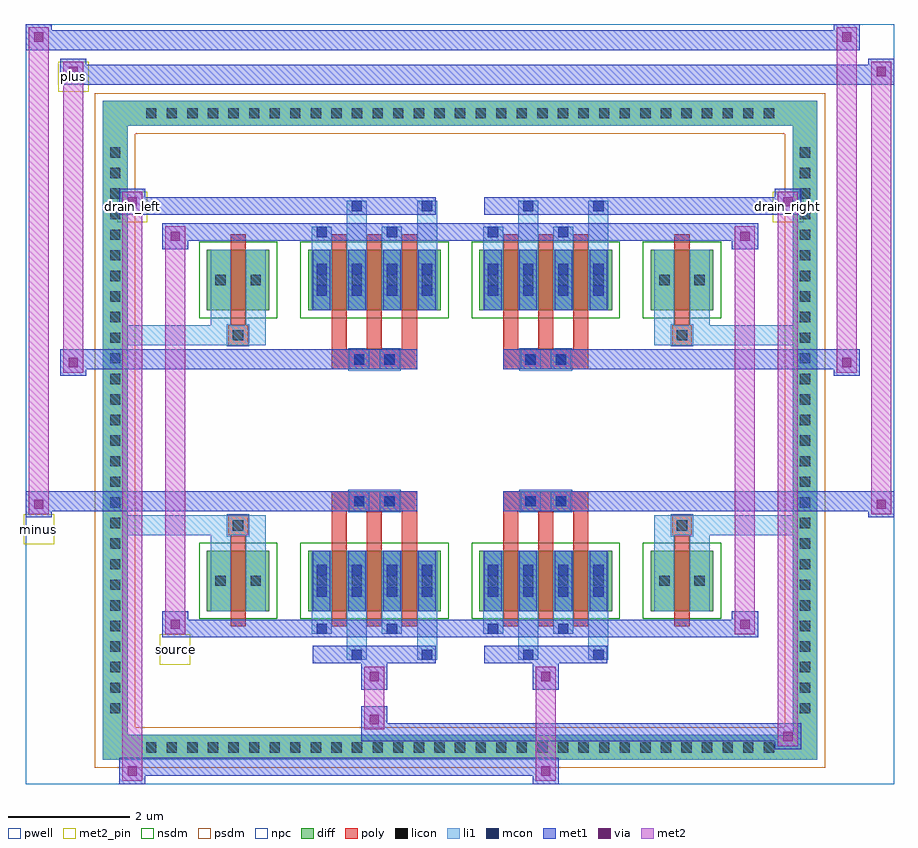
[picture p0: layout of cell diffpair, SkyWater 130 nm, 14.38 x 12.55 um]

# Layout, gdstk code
import gdstk
lib = gdstk.Library(unit=1e-6, precision=5e-09)
def R(c, l, rs):  # rectangles x0, y0, x1, y1
    for r in rs: c.add(gdstk.rectangle(r[:2], r[2:], *l))
def A(c, l, x, y, w, h, nx, ny, dx, dy):  # array of equal rectangles
    R(c, l, [(x+i*dx, y+j*dy, x+i*dx+w, y+j*dy+h) for i in range(nx) for j in range(ny)])
def P(c, l, *ps):  # polygons
    for p in ps: c.add(gdstk.Polygon(p, *l))
pwell = (64, 44)
diff = (65, 20)
poly = (66, 20)
licon = (66, 44)
li1 = (67, 20)
mcon = (67, 44)
met1 = (68, 20)
via = (68, 44)
met2_pin = (69, 16)
met2 = (69, 20)
nsdm = (93, 44)
psdm = (94, 20)
npc = (95, 20)

diffpair = lib.new_cell('diffpair')
R(diffpair, pwell, [(-7.17,-5.84,7.17,6.71), (-4.49,-4.03,-0.01,-0.805), (0.01,-4.03,4.49,-0.805), (-4.49,0.805,-0.01,4.03), (0.01,0.805,4.49,4.03)])
A(diffpair, diff, -5.305, -5.44, 0.41, 0.41, 31, 2, 0.34, 10.47)
A(diffpair, diff, -5.9, -4.795, 0.41, 0.41, 1, 28, 0, 0.34)
A(diffpair, diff, 5.49, -4.795, 0.41, 0.41, 1, 28, 0, 0.34)
R(diffpair, diff, [(-5.305,-5.44,5.305,-5.03), (-5.9,-4.795,-5.49,4.795), (5.49,-4.795,5.9,4.795), (-4.18,-2.985,-3.15,-1.985), (-2.51,-2.985,-0.32,-1.985), (0.32,-2.985,2.51,-1.985), (3.15,-2.985,4.18,-1.985), (-4.18,1.985,-3.15,2.985), (-2.51,1.985,-0.32,2.985), (0.32,1.985,2.51,2.985), (3.15,1.985,4.18,2.985), (-5.305,5.03,5.305,5.44)])
P(diffpair, diff, [(5.9,5.44),(-5.9,5.44),(-5.9,-5.03),(-5.49,-5.03),(-5.49,5.03),(5.49,5.03),(5.49,-5.03),(-5.49,-5.03),(-5.9,-5.03),(-5.9,-5.44),(5.9,-5.44)])
A(diffpair, poly, -2.12, -3.235, 0.25, 1.5, 3, 2, 0.58, 4.97)
A(diffpair, poly, 0.71, -3.235, 0.25, 1.5, 3, 2, 0.58, 4.97)
A(diffpair, poly, -2.12, -1.735, 0.25, 0.4, 3, 2, 0.58, 3.07)
A(diffpair, poly, 0.71, -1.735, 0.25, 0.4, 3, 2, 0.58, 3.07)
R(diffpair, poly, [(-3.79,-3.235,-3.54,-1.735), (3.54,-3.235,3.79,-1.735), (-3.83,-1.735,-3.5,-1.405), (-3.83,-1.735,-3.5,-1.405), (3.5,-1.735,3.83,-1.405), (3.5,-1.735,3.83,-1.405), (-2.12,-1.335,-0.71,-1.005), (-1.83,-1.335,-1.5,-1.005), (-1.33,-1.335,-1,-1.005), (0.71,-1.335,2.12,-1.005), (1,-1.335,1.33,-1.005), (1.5,-1.335,1.83,-1.005), (-2.12,1.005,-0.71,1.335), (-1.83,1.005,-1.5,1.335), (-1.33,1.005,-1,1.335), (0.71,1.005,2.12,1.335), (1,1.005,1.33,1.335), (1.5,1.005,1.83,1.335), (-3.83,1.405,-3.5,1.735), (-3.83,1.405,-3.5,1.735), (3.5,1.405,3.83,1.735), (3.5,1.405,3.83,1.735), (-3.79,1.735,-3.54,3.235), (3.54,1.735,3.79,3.235)])
A(diffpair, licon, -5.185, -5.32, 0.17, 0.17, 31, 2, 0.34, 10.47)
A(diffpair, licon, -5.78, -4.675, 0.17, 0.17, 1, 28, 0, 0.34)
A(diffpair, licon, 5.61, -4.675, 0.17, 0.17, 1, 28, 0, 0.34)
A(diffpair, licon, -2.37, -2.57, 0.17, 0.17, 4, 2, 0.58, 4.97)
A(diffpair, licon, 0.46, -2.57, 0.17, 0.17, 4, 2, 0.58, 4.97)
R(diffpair, licon, [(-4.04,-2.57,-3.87,-2.4), (-3.46,-2.57,-3.29,-2.4), (3.29,-2.57,3.46,-2.4), (3.87,-2.57,4.04,-2.4), (-3.75,-1.655,-3.58,-1.485), (3.58,-1.655,3.75,-1.485), (-1.75,-1.255,-1.58,-1.085), (-1.25,-1.255,-1.08,-1.085), (1.08,-1.255,1.25,-1.085), (1.58,-1.255,1.75,-1.085), (-1.75,1.085,-1.58,1.255), (-1.25,1.085,-1.08,1.255), (1.08,1.085,1.25,1.255), (1.58,1.085,1.75,1.255), (-3.75,1.485,-3.58,1.655), (3.58,1.485,3.75,1.655), (-4.04,2.4,-3.87,2.57), (-3.46,2.4,-3.29,2.57), (3.29,2.4,3.46,2.57), (3.87,2.4,4.04,2.57)])
A(diffpair, li1, -5.265, -5.4, 0.33, 0.33, 31, 2, 0.34, 10.47)
A(diffpair, li1, -5.86, -4.755, 0.33, 0.33, 1, 28, 0, 0.34)
A(diffpair, li1, 5.53, -4.755, 0.33, 0.33, 1, 28, 0, 0.34)
A(diffpair, li1, -2.45, -2.985, 0.33, 1, 4, 2, 0.58, 4.97)
A(diffpair, li1, 0.38, -2.985, 0.33, 1, 4, 2, 0.58, 4.97)
A(diffpair, li1, -2.37, -2.75, 0.17, 0.17, 4, 2, 0.58, 0.36)
A(diffpair, li1, -2.37, -2.75, 0.17, 0.53, 4, 2, 0.58, 4.97)
A(diffpair, li1, 0.46, -2.75, 0.17, 0.17, 4, 2, 0.58, 0.36)
A(diffpair, li1, 0.46, -2.75, 0.17, 0.53, 4, 2, 0.58, 4.97)
A(diffpair, li1, -2.45, -2.65, 0.33, 0.33, 4, 2, 0.58, 4.97)
A(diffpair, li1, 0.38, -2.65, 0.33, 0.33, 4, 2, 0.58, 4.97)
A(diffpair, li1, -2.37, 2.22, 0.17, 0.17, 4, 2, 0.58, 0.36)
A(diffpair, li1, 0.46, 2.22, 0.17, 0.17, 4, 2, 0.58, 0.36)
R(diffpair, li1, [(-5.9,-5.44,-5.49,-5.03), (-5.9,-5.44,-5.49,-5.03), (-5.49,-5.44,5.49,-5.03), (5.49,-5.44,5.9,-5.03), (5.49,-5.44,5.9,-5.03), (-5.9,-5.03,-5.49,5.03), (5.49,-5.03,5.9,5.03), (-1.87,-3.79,-1.54,-2.985), (-1.79,-3.79,-1.62,-3.62), (-0.71,-3.79,-0.38,-2.985), (-0.63,-3.79,-0.46,-3.62), (0.96,-3.79,1.29,-2.985), (1.04,-3.79,1.21,-3.62), (2.12,-3.79,2.45,-2.985), (2.2,-3.79,2.37,-3.62), (-2.45,-3.36,-2.12,-2.985), (-2.37,-3.36,-2.2,-3.19), (-1.29,-3.36,-0.96,-2.985), (-1.21,-3.36,-1.04,-3.19), (0.38,-3.36,0.71,-2.985), (0.46,-3.36,0.63,-3.19), (1.54,-3.36,1.87,-2.985), (1.62,-3.36,1.79,-3.19), (-4.12,-2.985,-3.79,-1.985), (-3.54,-2.985,-3.21,-1.985), (3.21,-2.985,3.54,-1.985), (3.79,-2.985,4.12,-1.985), (-4.12,-2.65,-3.79,-2.32), (-3.54,-2.65,-3.21,-2.32), (3.21,-2.65,3.54,-2.32), (3.79,-2.65,4.12,-2.32), (-4.12,-1.985,-3.79,-1.405), (-3.54,-1.985,-3.21,-1.405), (3.21,-1.985,3.54,-1.405), (3.79,-1.985,4.12,-1.405), (-5.9,-1.735,-3.83,-1.405), (-4.12,-1.735,-3.83,-1.405), (-3.83,-1.735,-3.5,-1.405), (-3.5,-1.735,-3.21,-1.405), (3.21,-1.735,3.5,-1.405), (3.5,-1.735,3.83,-1.405), (3.5,-1.735,5.9,-1.405), (3.83,-1.735,4.12,-1.405), (-1.83,-1.335,-1.5,-1.005), (-1.33,-1.335,-1,-1.005), (1,-1.335,1.33,-1.005), (1.5,-1.335,1.83,-1.005), (-1.83,1.005,-1.5,1.335), (-1.33,1.005,-1,1.335), (1,1.005,1.33,1.335), (1.5,1.005,1.83,1.335), (-5.9,1.405,-3.83,1.735), (-4.12,1.405,-3.83,1.735), (-4.12,1.405,-3.79,1.985), (-3.83,1.405,-3.5,1.735), (-3.54,1.405,-3.21,1.985), (-3.5,1.405,-3.21,1.735), (3.21,1.405,3.5,1.735), (3.21,1.405,3.54,1.985), (3.5,1.405,3.83,1.735), (3.5,1.405,5.9,1.735), (3.79,1.405,4.12,1.985), (3.83,1.405,4.12,1.735), (-4.12,1.985,-3.79,2.985), (-3.54,1.985,-3.21,2.985), (3.21,1.985,3.54,2.985), (3.79,1.985,4.12,2.985), (-4.12,2.32,-3.79,2.65), (-3.54,2.32,-3.21,2.65), (3.21,2.32,3.54,2.65), (3.79,2.32,4.12,2.65), (-2.45,2.985,-2.12,3.36), (-1.87,2.985,-1.54,3.79), (-1.29,2.985,-0.96,3.36), (-0.71,2.985,-0.38,3.79), (0.38,2.985,0.71,3.36), (0.96,2.985,1.29,3.79), (1.54,2.985,1.87,3.36), (2.12,2.985,2.45,3.79), (-2.37,3.19,-2.2,3.36), (-1.21,3.19,-1.04,3.36), (0.46,3.19,0.63,3.36), (1.62,3.19,1.79,3.36), (-1.79,3.62,-1.62,3.79), (-0.63,3.62,-0.46,3.79), (1.04,3.62,1.21,3.79), (2.2,3.62,2.37,3.79), (-5.9,5.03,-5.49,5.44), (-5.9,5.03,-5.49,5.44), (-5.49,5.03,5.49,5.44), (5.49,5.03,5.9,5.44), (5.49,5.03,5.9,5.44)])
A(diffpair, mcon, -2.37, -2.75, 0.17, 0.17, 4, 2, 0.58, 0.36)
A(diffpair, mcon, 0.46, -2.75, 0.17, 0.17, 4, 2, 0.58, 0.36)
A(diffpair, mcon, -2.37, 2.22, 0.17, 0.17, 4, 2, 0.58, 0.36)
A(diffpair, mcon, 0.46, 2.22, 0.17, 0.17, 4, 2, 0.58, 0.36)
R(diffpair, mcon, [(-1.79,-3.79,-1.62,-3.62), (-0.63,-3.79,-0.46,-3.62), (1.04,-3.79,1.21,-3.62), (2.2,-3.79,2.37,-3.62), (-2.37,-3.36,-2.2,-3.19), (-1.21,-3.36,-1.04,-3.19), (0.46,-3.36,0.63,-3.19), (1.62,-3.36,1.79,-3.19), (-1.75,-1.255,-1.58,-1.085), (-1.25,-1.255,-1.08,-1.085), (1.08,-1.255,1.25,-1.085), (1.58,-1.255,1.75,-1.085), (-1.75,1.085,-1.58,1.255), (-1.25,1.085,-1.08,1.255), (1.08,1.085,1.25,1.255), (1.58,1.085,1.75,1.255), (-2.37,3.19,-2.2,3.36), (-1.21,3.19,-1.04,3.36), (0.46,3.19,0.63,3.36), (1.62,3.19,1.79,3.36), (-1.79,3.62,-1.62,3.79), (-0.63,3.62,-0.46,3.79), (1.04,3.62,1.21,3.79), (2.2,3.62,2.37,3.79)])
A(diffpair, met1, -2.43, -2.985, 0.29, 1, 4, 2, 0.58, 4.97)
A(diffpair, met1, 0.4, -2.985, 0.29, 1, 4, 2, 0.58, 4.97)
A(diffpair, met1, -2.43, -2.81, 0.29, 0.29, 4, 2, 0.58, 0.36)
A(diffpair, met1, 0.4, -2.81, 0.29, 0.29, 4, 2, 0.58, 0.36)
A(diffpair, met1, -2.43, 2.16, 0.29, 0.29, 4, 2, 0.58, 0.36)
A(diffpair, met1, 0.4, 2.16, 0.29, 0.29, 4, 2, 0.58, 0.36)
R(diffpair, met1, [(-5.63,-5.84,-5.2,-5.41), (1.2,-5.84,1.63,-5.41), (-5.63,-5.7,1.63,-5.41), (5.2,-5.27,5.63,-4.84), (-1.63,-5.13,5.63,-4.84), (-1.63,-4.99,-1.2,-4.56), (-1.63,-4.28,-1.2,-3.85), (1.2,-4.28,1.63,-3.85), (-2.43,-3.85,-0.4,-3.56), (-1.85,-3.85,-1.56,-3.56), (-0.69,-3.85,-0.4,-3.56), (0.4,-3.85,2.43,-3.56), (0.98,-3.85,1.27,-3.56), (2.14,-3.85,2.43,-3.56), (-4.92,-3.42,-4.49,-2.99), (-4.92,-3.42,-2.43,-3.13), (-2.43,-3.42,-2.14,-3.13), (-2.43,-3.42,-0.4,-3.13), (-1.27,-3.42,-0.98,-3.13), (-0.4,-3.42,0.4,-3.13), (0.4,-3.42,0.69,-3.13), (0.4,-3.42,2.43,-3.13), (1.56,-3.42,1.85,-3.13), (2.43,-3.42,4.92,-3.13), (4.49,-3.42,4.92,-2.99), (-7.17,-1.435,-6.74,-1.005), (6.74,-1.435,7.17,-1.005), (-7.17,-1.335,-0.71,-1.005), (-2.12,-1.335,-0.71,-1.005), (0.71,-1.335,2.12,-1.005), (0.71,-1.335,7.17,-1.005), (-1.81,-1.315,-1.52,-1.025), (-1.31,-1.315,-1.02,-1.025), (1.02,-1.315,1.31,-1.025), (1.52,-1.315,1.81,-1.025), (-6.6,0.905,-6.17,1.335), (6.17,0.905,6.6,1.335), (-6.6,1.005,-2.12,1.335), (-2.12,1.005,-0.71,1.335), (0.71,1.005,2.12,1.335), (2.12,1.005,6.6,1.335), (-1.81,1.025,-1.52,1.315), (-1.31,1.025,-1.02,1.315), (1.02,1.025,1.31,1.315), (1.52,1.025,1.81,1.315), (-4.92,2.99,-4.49,3.42), (4.49,2.99,4.92,3.42), (-4.92,3.13,-2.43,3.42), (-2.43,3.13,-2.14,3.42), (-2.43,3.13,-0.4,3.42), (-1.27,3.13,-0.98,3.42), (-0.4,3.13,0.4,3.42), (0.4,3.13,0.69,3.42), (0.4,3.13,2.43,3.42), (1.56,3.13,1.85,3.42), (2.43,3.13,4.92,3.42), (-5.63,3.56,-5.2,3.99), (-5.63,3.56,-2.43,3.85), (-2.43,3.56,-0.4,3.85), (-1.85,3.56,-1.56,3.85), (-0.69,3.56,-0.4,3.85), (0.4,3.56,2.43,3.85), (0.98,3.56,1.27,3.85), (2.14,3.56,2.43,3.85), (2.43,3.56,5.63,3.85), (5.2,3.56,5.63,3.99), (-6.6,5.71,-6.17,6.14), (-6.6,5.71,-4.49,6.04), (-4.49,5.71,4.49,6.04), (4.49,5.71,7.17,6.04), (6.74,5.71,7.17,6.14), (-7.17,6.28,-6.74,6.71), (-7.17,6.28,-4.49,6.61), (-4.49,6.28,4.49,6.61), (4.49,6.28,6.6,6.61), (6.17,6.28,6.6,6.71)])
R(diffpair, via, [(-5.49,-5.7,-5.34,-5.55), (1.34,-5.7,1.49,-5.55), (5.34,-5.13,5.49,-4.98), (-1.49,-4.85,-1.34,-4.7), (-1.49,-4.14,-1.34,-3.99), (1.34,-4.14,1.49,-3.99), (-4.78,-3.28,-4.63,-3.13), (4.63,-3.28,4.78,-3.13), (-7.03,-1.295,-6.88,-1.145), (6.88,-1.295,7.03,-1.145), (-6.46,1.045,-6.31,1.195), (6.31,1.045,6.46,1.195), (-4.78,3.13,-4.63,3.28), (4.63,3.13,4.78,3.28), (-5.49,3.7,-5.34,3.85), (5.34,3.7,5.49,3.85), (-6.46,5.85,-6.31,6), (6.88,5.85,7.03,6), (-7.03,6.42,-6.88,6.57), (6.31,6.42,6.46,6.57)])
R(diffpair, met2_pin, [(-4.955,-3.87,-4.455,-3.37), (-7.205,-1.885,-6.705,-1.385), (-5.665,3.44,-5.165,3.94), (5.165,3.44,5.665,3.94), (-6.635,5.59,-6.135,6.09)])
R(diffpair, met2, [(-5.58,-5.79,-5.25,-5.46), (-5.58,-5.79,-5.25,3.94), (1.25,-5.79,1.58,-5.46), (1.25,-5.46,1.58,-4.23), (5.25,-5.22,5.58,-4.89), (5.25,-5.22,5.58,3.94), (-1.58,-4.94,-1.25,-4.61), (-1.58,-4.61,-1.25,-4.23), (-1.58,-4.23,-1.25,-3.9), (1.25,-4.23,1.58,-3.9), (-4.87,-3.37,-4.54,-3.04), (-4.87,-3.37,-4.54,3.37), (4.54,-3.37,4.87,-3.04), (4.54,-3.37,4.87,3.37), (-7.12,-1.385,-6.79,-1.055), (-7.12,-1.385,-6.79,6.66), (6.79,-1.385,7.12,-1.055), (6.79,-1.385,7.12,6.09), (-6.55,0.955,-6.22,1.285), (-6.55,0.955,-6.22,6.09), (6.22,0.955,6.55,1.285), (6.22,0.955,6.55,6.66), (-4.87,3.04,-4.54,3.37), (4.54,3.04,4.87,3.37), (-5.58,3.61,-5.25,3.94), (5.25,3.61,5.58,3.94), (-6.55,5.76,-6.22,6.09), (6.79,5.76,7.12,6.09), (-7.12,6.33,-6.79,6.66), (6.22,6.33,6.55,6.66)])
P(diffpair, met2, [(7.12,-1.385),(7.12,-1.385),(7.12,-1.055),(7.12,-1.055)],
  [(7.12,5.76),(7.12,5.76),(7.12,6.09),(7.12,6.09)],
  [(-6.79,-1.385),(-6.79,-1.385),(-6.79,-1.055),(-6.79,-1.055)],
  [(-6.79,6.33),(-6.79,6.33),(-6.79,6.66),(-6.79,6.66)],
  [(6.55,0.955),(6.55,0.955),(6.55,1.285),(6.55,1.285)],
  [(6.55,6.33),(6.55,6.33),(6.55,6.66),(6.55,6.66)],
  [(-6.22,0.955),(-6.22,0.955),(-6.22,1.285),(-6.22,1.285)],
  [(-6.22,5.76),(-6.22,5.76),(-6.22,6.09),(-6.22,6.09)],
  [(-5.25,-5.79),(-5.25,-5.79),(-5.25,-5.46),(-5.25,-5.46)],
  [(-5.25,3.61),(-5.25,3.61),(-5.25,3.94),(-5.25,3.94)],
  [(5.58,-5.22),(5.58,-5.22),(5.58,-4.89),(5.58,-4.89)],
  [(5.58,3.61),(5.58,3.61),(5.58,3.94),(5.58,3.94)],
  [(-4.54,-3.37),(-4.54,-3.37),(-4.54,-3.04),(-4.54,-3.04)],
  [(-4.54,3.04),(-4.54,3.04),(-4.54,3.37),(-4.54,3.37)],
  [(4.87,-3.37),(4.87,-3.37),(4.87,-3.04),(4.87,-3.04)],
  [(4.87,3.04),(4.87,3.04),(4.87,3.37),(4.87,3.37)])
R(diffpair, nsdm, [(-4.31,-3.115,-3.02,-1.855), (-2.64,-3.115,-0.19,-1.855), (0.19,-3.115,2.64,-1.855), (3.02,-3.115,4.31,-1.855), (-4.31,1.855,-3.02,3.115), (-2.64,1.855,-0.19,3.115), (0.19,1.855,2.64,3.115), (3.02,1.855,4.31,3.115)])
P(diffpair, psdm, [(6.03,5.57),(-6.03,5.57),(-6.03,-4.9),(-5.36,-4.9),(-5.36,4.9),(5.36,4.9),(5.36,-4.9),(-5.36,-4.9),(-6.03,-4.9),(-6.03,-5.57),(6.03,-5.57)])
R(diffpair, npc, [(-3.85,-1.755,-3.48,-1.385), (3.48,-1.755,3.85,-1.385), (-1.85,-1.355,-1.48,-0.985), (-1.85,-1.355,-0.98,-0.985), (-1.85,-1.355,-0.98,-0.985), (-1.35,-1.355,-0.98,-0.985), (0.98,-1.355,1.35,-0.985), (0.98,-1.355,1.85,-0.985), (0.98,-1.355,1.85,-0.985), (1.48,-1.355,1.85,-0.985), (-1.85,0.985,-1.48,1.355), (-1.85,0.985,-0.98,1.355), (-1.85,0.985,-0.98,1.355), (-1.35,0.985,-0.98,1.355), (0.98,0.985,1.35,1.355), (0.98,0.985,1.85,1.355), (0.98,0.985,1.85,1.355), (1.48,0.985,1.85,1.355), (-3.85,1.385,-3.48,1.755), (3.48,1.385,3.85,1.755)])
diffpair.add(gdstk.Label('minus', (-6.955,-1.635), layer=69, texttype=5))
diffpair.add(gdstk.Label('drain_right', (5.415,3.69), layer=69, texttype=5))
diffpair.add(gdstk.Label('drain_left', (-5.415,3.69), layer=69, texttype=5))
diffpair.add(gdstk.Label('source', (-4.705,-3.62), layer=69, texttype=5))
diffpair.add(gdstk.Label('plus', (-6.385,5.84), layer=69, texttype=5))

lib.write_gds('diffpair.gds')
